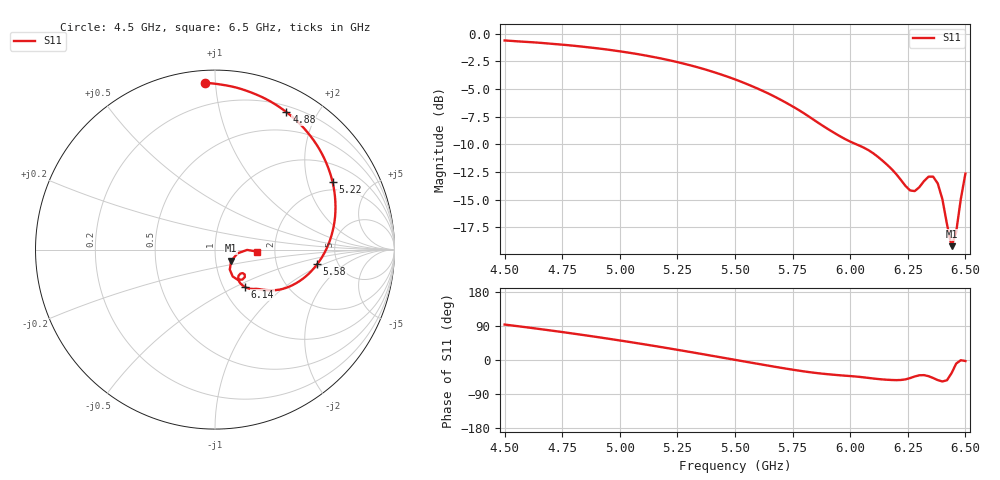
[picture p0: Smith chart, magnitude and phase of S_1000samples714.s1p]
! TOUCHSTONE file generated by CST MICROWAVE STUDIO
! Date and time: Sat Oct 29 03:10:24 2022
! Project name: L.cst
! Parameters = {Di=1.27; Epsilon_r=1.56; InnerDiameter=1.27; Length=2; Lf=10; Lg=60; OuterConductorThickness=0.2921; OuterDiameter=3.6; Wf=3; Wp=41.2; de=1.5; df=6.8; g=0.8; gx=2.86448; gy=4.73962; h=2.34; hf=1.524; px=13.3839; py=14.3712; w=9.7; wx=10.5194; wy=9.63154}
! Header version: 2018
! Port assignment regex: !\s*Touchstone port\s*([0-9]+)\s*=\s*(CST MWS port|CST DS port)\s*([0-9]+|Zmin|Zmax)\s*\(\"(.*)\"\)(\s*mode\s*([0-9]+))?.*
! Touchstone port assignment:
! Touchstone port 1 = CST MWS port 1 ("")
# GHz S DB R 50
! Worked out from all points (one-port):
!   101 points, 4.5 GHz to 6.5 GHz, reference 50 ohm
!   lowest |S11| = -19.2 dB at 6.44 GHz (marker M1), VSWR 1.25, Z = 59.4 - j7.52 ohm
!   |S11| at or under -10 dB: 6.027 GHz to end of sweep
!   S11 on the Smith chart (normalised r, x): 4.5 GHz: 0.07, +0.94; 4.88 GHz: 0.27, +1.61; 5.22 GHz: 1.64, +2.89; 5.58 GHz: 3.49, -0.84; 6.14 GHz: 1.26, -0.57; 6.5 GHz: 1.61, -0.04
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4.5  -0.62 93.6
4.64  -0.81 82.7
4.76  -1.02 72.9
4.88  -1.28 62.5
5  -1.60 51.6
5.12  -2.01 40.0
5.22  -2.43 30.0
5.26  -2.62 25.9
5.38  -3.30 13.3
5.5  -4.13 0.4
5.58  -4.80 -8.1
5.68  -5.78 -18.6
5.76  -6.69 -26.5
5.88  -8.31 -36.1
6  -9.75 -42.4
6.14  -11.47 -51.2
6.22  -13.21 -52.7
6.26  -14.16 -47.7
6.3  -13.87 -40.3
6.34  -12.92 -42.6
6.36  -12.91 -47.5
6.38  -13.53 -53.0
6.4  -14.93 -56.7
6.42  -17.19 -53.4
6.44  -19.19 -34.7
6.46  -17.91 -9.5
6.48  -14.95 -0.6
6.5  -12.64 -2.6
